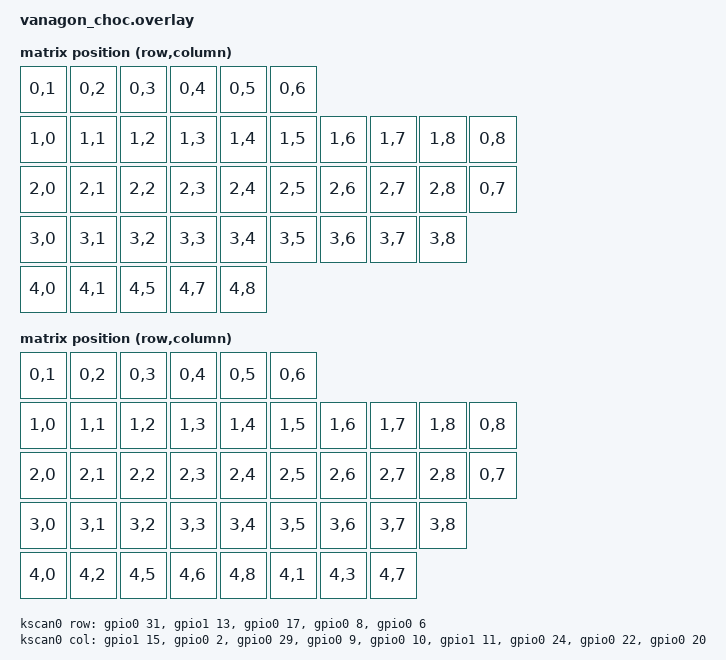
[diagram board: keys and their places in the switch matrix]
#include <dt-bindings/zmk/matrix_transform.h>
#include "vanagon_choc-layouts.dtsi"

/ {

    kscan0: kscan_0 {
        compatible = "zmk,kscan-gpio-matrix";
        diode-direction = "col2row";
        wakeup-source;

        col-gpios
            = <&gpio1 15 GPIO_ACTIVE_HIGH>
            , <&gpio0 2  GPIO_ACTIVE_HIGH>
            , <&gpio0 29 GPIO_ACTIVE_HIGH>
            , <&gpio0 9  GPIO_ACTIVE_HIGH>
            , <&gpio0 10 GPIO_ACTIVE_HIGH>
            , <&gpio1 11 GPIO_ACTIVE_HIGH>
            , <&gpio0 24 GPIO_ACTIVE_HIGH>
            , <&gpio0 22 GPIO_ACTIVE_HIGH>
            , <&gpio0 20 GPIO_ACTIVE_HIGH>
            ;

        row-gpios
            = <&gpio0 31 (GPIO_ACTIVE_HIGH | GPIO_PULL_DOWN)>
            , <&gpio1 13 (GPIO_ACTIVE_HIGH | GPIO_PULL_DOWN)>
            , <&gpio0 17 (GPIO_ACTIVE_HIGH | GPIO_PULL_DOWN)>
            , <&gpio0 8  (GPIO_ACTIVE_HIGH | GPIO_PULL_DOWN)>
            , <&gpio0 6  (GPIO_ACTIVE_HIGH | GPIO_PULL_DOWN)>
            ;
    };

    matrix_transform0: matrix_transform_0 {
        compatible = "zmk,matrix-transform";
        rows = <5>; // Length of the "row-gpios" array
        columns = <9>; // Length of the "col-gpios" array
        map = <
            RC(0,1)  RC(0,2)  RC(0,3)  RC(0,4)  RC(0,5)  RC(0,6)
            RC(1,0)  RC(1,1)  RC(1,2)  RC(1,3)  RC(1,4)  RC(1,5)  RC(1,6)  RC(1,7)  RC(1,8)  RC(0,8)
            RC(2,0)  RC(2,1)  RC(2,2)  RC(2,3)  RC(2,4)  RC(2,5)  RC(2,6)  RC(2,7)  RC(2,8)  RC(0,7)
            RC(3,0)  RC(3,1)  RC(3,2)  RC(3,3)  RC(3,4)  RC(3,5)  RC(3,6)  RC(3,7)  RC(3,8)
            RC(4,0)  RC(4,1)  RC(4,5)  RC(4,7)  RC(4,8)
        >;
    };

    matrix_transform1: matrix_transform_1 {
        compatible = "zmk,matrix-transform";
        rows = <5>; // Length of the "row-gpios" array
        columns = <9>; // Length of the "col-gpios" array
        map = <
            RC(0,1)  RC(0,2)  RC(0,3)  RC(0,4)  RC(0,5)  RC(0,6)
            RC(1,0)  RC(1,1)  RC(1,2)  RC(1,3)  RC(1,4)  RC(1,5)  RC(1,6)  RC(1,7)  RC(1,8)  RC(0,8)
            RC(2,0)  RC(2,1)  RC(2,2)  RC(2,3)  RC(2,4)  RC(2,5)  RC(2,6)  RC(2,7)  RC(2,8)  RC(0,7)
            RC(3,0)  RC(3,1)  RC(3,2)  RC(3,3)  RC(3,4)  RC(3,5)  RC(3,6)  RC(3,7)  RC(3,8)
            /* re-order due to multi-layout? RC(4,0)  RC(4,1)  RC(4,2)  RC(4,3)  RC(4,5)  RC(4,6)  RC(4,7)  RC(4,8) */
            RC(4,0)  RC(4,2)  RC(4,5)  RC(4,6)  RC(4,8)  RC(4,1)  RC(4,3)  RC(4,7)
        >;
    };

    chosen {
        zmk,physical-layout = &physical_layout0;
        // Other chosen items
    };

};
